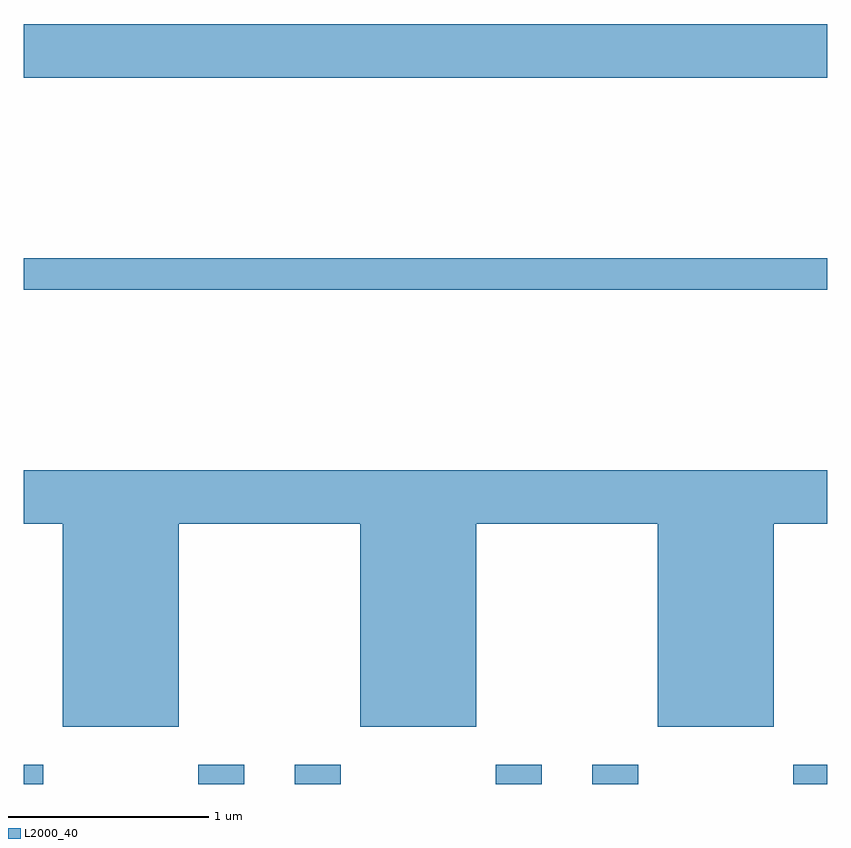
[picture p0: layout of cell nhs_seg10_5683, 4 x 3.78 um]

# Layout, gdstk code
import gdstk
lib = gdstk.Library(unit=1e-6, precision=1e-09)
def R(c, l, rs):  # rectangles x0, y0, x1, y1
    for r in rs: c.add(gdstk.rectangle(r[:2], r[2:], *l))
def P(c, l, *ps):  # polygons
    for p in ps: c.add(gdstk.Polygon(p, *l))
L2000_40 = (2000, 40)

nhs_seg10_5683 = lib.new_cell('nhs_seg10_5683')
R(nhs_seg10_5683, L2000_40, [(351.611,2212.522,351.709,2212.619), (352.481,2212.522,352.709,2212.619), (352.961,2212.522,353.189,2212.619), (353.961,2212.522,354.189,2212.619), (354.441,2212.522,354.669,2212.619), (355.441,2212.522,355.611,2212.619), (351.611,2214.981,355.611,2215.139), (351.611,2216.036,355.611,2216.304)])
P(nhs_seg10_5683, L2000_40, [(352.384,2213.816),(353.286,2213.816),(353.286,2212.806),(353.864,2212.806),(353.864,2213.816),(354.766,2213.816),(354.766,2212.806),(355.344,2212.806),(355.344,2213.816),(355.611,2213.816),(355.611,2214.084),(351.611,2214.084),(351.611,2213.816),(351.806,2213.816),(351.806,2212.806),(352.384,2212.806)])

lib.write_gds('nhs_seg10_5683.gds')
